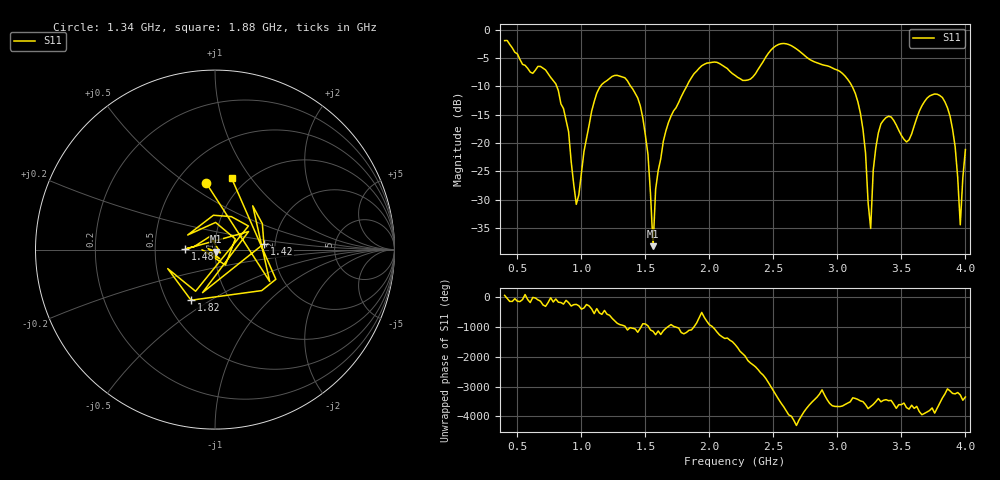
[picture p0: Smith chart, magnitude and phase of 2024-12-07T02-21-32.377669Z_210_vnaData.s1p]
!Created with skrf (http://scikit-rf.org).
# Hz S RI R 50.0
!freq ReS11 ImS11
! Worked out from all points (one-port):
!   181 points, 400 MHz to 4 GHz, reference 50 ohm
!   lowest |S11| = -38.2 dB at 1.56 GHz (marker M1), VSWR 1.02, Z = 50.4 - j1.18 ohm
!   |S11| at or under -10 dB: 807.3 MHz to 1.149 GHz (341.9 MHz wide, 35 % of centre); 1.385 GHz to 1.823 GHz (437.3 MHz wide, 27.3 % of centre); 3.115 GHz to end of sweep
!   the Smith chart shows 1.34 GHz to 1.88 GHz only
!   S11 on the Smith chart (normalised r, x): 1.34 GHz: 0.69, +0.60; 1.42 GHz: 1.74, +0.12; 1.48 GHz: 0.72, +0.00; 1.82 GHz: 0.66, -0.41; 1.88 GHz: 0.85, +0.81
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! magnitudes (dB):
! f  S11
! 400 MHz  -1.9
! 860 MHz  -13.9
! 960 MHz  -30.8
! 1.12 GHz  -11.2
! 1.3 GHz  -8.2
! 1.34 GHz  -8.5
! 1.42 GHz  -11.2
! 1.48 GHz  -15.6
! 1.52 GHz  -22.0
! 1.56 GHz  -38.2
! 1.58 GHz  -28.1
! 1.64 GHz  -19.7
! 1.76 GHz  -12.8
! 1.82 GHz  -10.1
! 1.88 GHz  -7.8
! 2.2 GHz  -8.1
! 2.66 GHz  -3.1
! 3.1 GHz  -9.4
! 3.2 GHz  -17.6
! 3.26 GHz  -35.1
! 3.28 GHz  -24.8
! 3.34 GHz  -16.6
! 3.56 GHz  -19.4
! 3.7 GHz  -12.1
! 3.82 GHz  -12.0
! 3.92 GHz  -20.7
! 3.96 GHz  -34.4
! 4 GHz  -21.2
